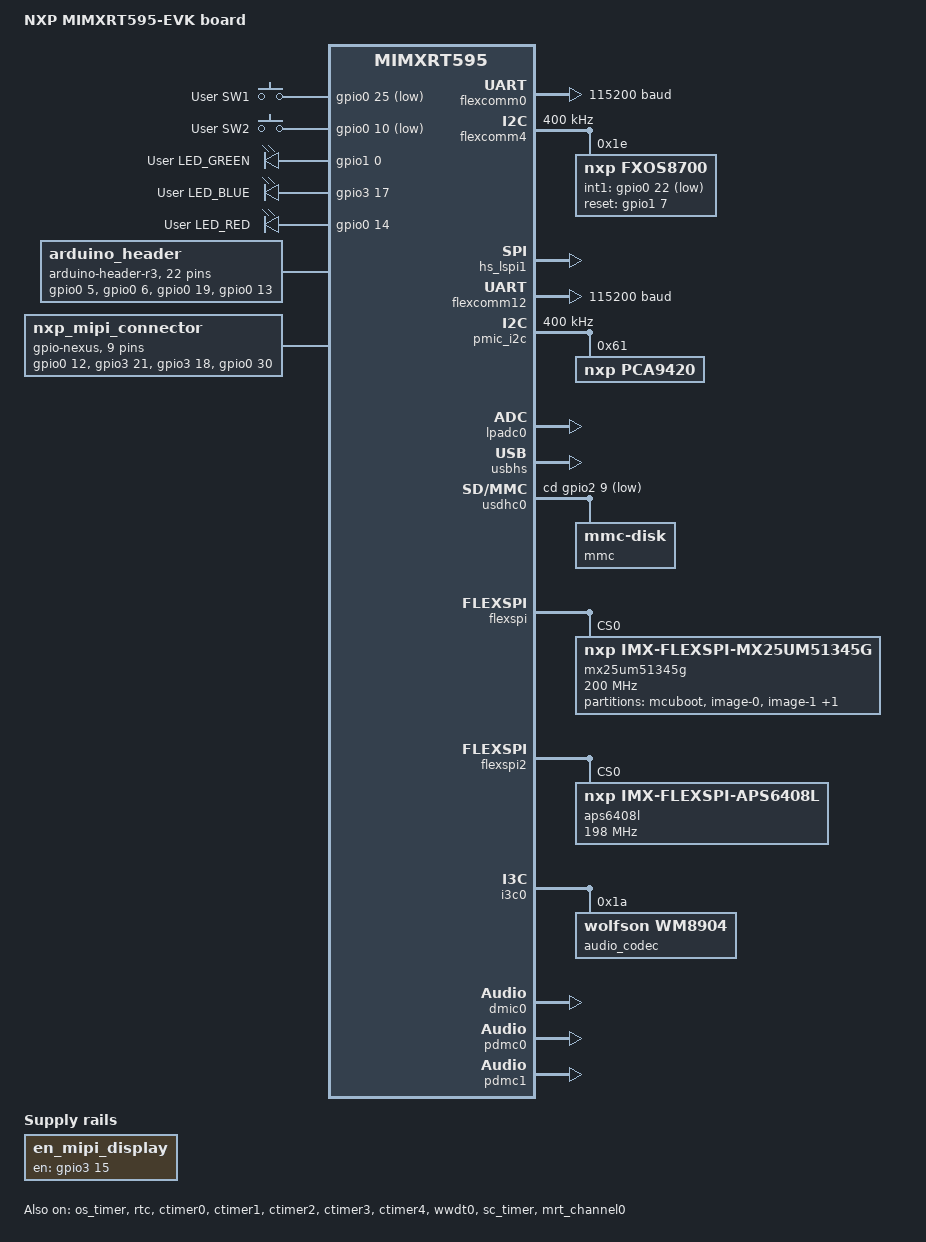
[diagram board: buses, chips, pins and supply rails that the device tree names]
/*
 * Copyright 2022-2023, NXP
 *
 * SPDX-License-Identifier: Apache-2.0
 */

/dts-v1/;

#include <nxp/nxp_rt5xx.dtsi>
#include <zephyr/dt-bindings/gpio/arduino-header-r3.h>
#include <zephyr/dt-bindings/input/input-event-codes.h>

#include "mimxrt595_evk_mimxrt595s_cm33-pinctrl.dtsi"


/ {
	model = "NXP MIMXRT595-EVK board";
	compatible = "nxp,mimxrt595";

	aliases {
		sw0 = &user_button_1;
		sw1 = &user_button_2;
		led0 = &green_led;
		led1 = &blue_led;
		led2 = &red_led;
		usart-0 = &flexcomm0;
		watchdog0 = &wwdt0;
		magn0 = &fxos8700;
		accel0 = &fxos8700;
		sdhc0 = &usdhc0;
		pwm-0 = &sc_timer;
		dmic-dev = &dmic0;
		mcuboot-button0 = &user_button_1;
	};

	chosen {
		zephyr,flash-controller = &mx25um51345g;
		zephyr,flash = &mx25um51345g;
		zephyr,code-partition = &slot0_partition;
		zephyr,uart-mcumgr = &flexcomm0;
		zephyr,sram = &sram0;
		zephyr,console = &flexcomm0;
		zephyr,shell-uart = &flexcomm0;
		zephyr,display = &lcdif;
	};

	gpio_keys {
		compatible = "gpio-keys";
		user_button_1: button_0 {
			label = "User SW1";
			gpios = <&gpio0 25 GPIO_ACTIVE_LOW>;
			zephyr,code = <INPUT_KEY_0>;
		};
		user_button_2: button_1 {
			label = "User SW2";
			gpios = <&gpio0 10 GPIO_ACTIVE_LOW>;
			zephyr,code = <INPUT_KEY_1>;
		};
	};

	leds {
		compatible = "gpio-leds";
		green_led: led_1 {
			gpios = <&gpio1 0 0>;
			label = "User LED_GREEN";
		};
		blue_led: led_2 {
			gpios = <&gpio3 17 0>;
			label = "User LED_BLUE";
		};
		red_led: led_3 {
			gpios = <&gpio0 14 0>;
			label = "User LED_RED";
		};
	};

	arduino_header: arduino-connector {
		compatible = "arduino-header-r3";
		#gpio-cells = <2>;
		gpio-map-mask = <0xffffffff 0xffffffc0>;
		gpio-map-pass-thru = <0 0x3f>;
		gpio-map =	<ARDUINO_HEADER_R3_A0 0 &gpio0 5 0>,
				<ARDUINO_HEADER_R3_A1 0 &gpio0 6 0>,
				<ARDUINO_HEADER_R3_A2 0 &gpio0 19 0>,
				<ARDUINO_HEADER_R3_A3 0 &gpio0 13 0>,
				<ARDUINO_HEADER_R3_A4 0 &gpio4 22 0>,
				<ARDUINO_HEADER_R3_A5 0 &gpio4 21 0>,
				<ARDUINO_HEADER_R3_D0 0 &gpio4 31 0>,
				<ARDUINO_HEADER_R3_D1 0 &gpio4 30 0>,
				<ARDUINO_HEADER_R3_D2 0 &gpio4 20 0>,
				<ARDUINO_HEADER_R3_D3 0 &gpio4 23 0>,
				<ARDUINO_HEADER_R3_D4 0 &gpio4 24 0>,
				<ARDUINO_HEADER_R3_D5 0 &gpio4 25 0>,
				<ARDUINO_HEADER_R3_D6 0 &gpio4 26 0>,
				<ARDUINO_HEADER_R3_D7 0 &gpio4 27 0>,
				<ARDUINO_HEADER_R3_D8 0 &gpio4 28 0>,
				<ARDUINO_HEADER_R3_D9 0 &gpio4 29 0>,
				<ARDUINO_HEADER_R3_D10 0 &gpio5 0 0>,
				<ARDUINO_HEADER_R3_D11 0 &gpio5 1 0>,
				<ARDUINO_HEADER_R3_D12 0 &gpio5 2 0>,
				<ARDUINO_HEADER_R3_D13 0 &gpio5 3 0>,
				<ARDUINO_HEADER_R3_D14 0 &gpio4 22 0>,
				<ARDUINO_HEADER_R3_D15 0 &gpio4 21 0>;
	};

	/*
	 * This node describes the GPIO pins of the MIPI FPC interface,
	 * J44 on the EVK. This interface is standard to several
	 * NXP EVKs, and is used with several MIPI displays
	 * (available as zephyr shields)
	 */
	nxp_mipi_connector: mipi-connector {
		compatible = "gpio-nexus";
		#gpio-cells = <2>;
		gpio-map-mask = <0xffffffff 0xffffffc0>;
		gpio-map-pass-thru = <0 0x3f>;
		gpio-map =	<0  0 &gpio0 12 0>,	/* Pin 1, LEDK */
				<21 0 &gpio3 21 0>,	/* Pin 21, RESET */
				<22 0 &gpio3 18 0>,	/* Pin 22, LPTE */
				<26 0 &gpio0 30 0>,	/* Pin 26, CTP_I2C SDA */
				<27 0 &gpio0 29 0>,	/* Pin 27, CTP_I2C SCL */
				<28 0 &gpio4 4 0>,	/* Pin 28, CTP_RST */
				<29 0 &gpio3 19 0>,	/* Pin 29, CTP_INT */
				<32 0 &gpio3 15 0>,	/* Pin 32, PWR_EN */
				<34 0 &gpio0 12 0>;	/* Pin 34, BL_PWM */
	};

	en_mipi_display: enable-mipi-display {
		compatible = "regulator-fixed";
		regulator-name = "en_mipi_display";
		enable-gpios = <&gpio3 15 GPIO_ACTIVE_HIGH>;
		regulator-boot-on;
	};
};

/*
 * RT595 EVK board uses OS timer as the kernel timer
 * In case we need to switch to SYSTICK timer, then
 * replace &os_timer with &systick
 */
&os_timer {
	status = "okay";
	wakeup-source;
};

&rtc {
	status = "okay";
};

&flexcomm0 {
	compatible = "nxp,lpc-usart";
	status = "okay";
	current-speed = <115200>;
	pinctrl-0 = <&pinmux_flexcomm0_usart>;
	pinctrl-names = "default";
	dmas = <&dma0 0>, <&dma0 1>;
	dma-names = "rx", "tx";
};

arduino_i2c: &flexcomm4 {
	compatible = "nxp,lpc-i2c";
	status = "okay";
	clock-frequency = <I2C_BITRATE_FAST>;
	#address-cells = <1>;
	#size-cells = <0>;
	pinctrl-0 = <&pinmux_flexcomm4_i2c>;
	pinctrl-names = "default";

	fxos8700: fxos8700@1e {
		compatible = "nxp,fxos8700";
		reg = <0x1e>;
		int1-gpios = <&gpio0 22 GPIO_ACTIVE_LOW>;
		reset-gpios = <&gpio1 7 GPIO_ACTIVE_HIGH>;
	};
};

nxp_mipi_i2c: &arduino_i2c {};

zephyr_mipi_dsi: &mipi_dsi {};

zephyr_lcdif: &lcdif {};


hs_spi1: &hs_lspi1 {
	compatible = "nxp,lpc-spi";
	pinctrl-0 = <&pinmux_flexcomm16_spi>;
	pinctrl-names = "default";
	dmas = <&dma0 28>, <&dma0 29>;
	dma-names = "rx", "tx";
	status = "okay";
};

/* I2S RX */
i2s0: &flexcomm1 {
	compatible = "nxp,lpc-i2s";
	pinctrl-0 = <&pinmux_flexcomm1_i2s>;
	pinctrl-names = "default";
	#address-cells = <1>;
	#size-cells = <0>;
	dmas = <&dma0 2>;
	dma-names = "rx";
	status = "disabled";
};

/* I2S TX */
i2s1: &flexcomm3 {
	compatible = "nxp,lpc-i2s";
	pinctrl-0 = <&pinmux_flexcomm3_i2s>;
	pinctrl-names = "default";
	#address-cells = <1>;
	#size-cells = <0>;
	dmas = <&dma0 7>;
	dma-names = "tx";
	status = "disabled";
};

arduino_serial: &flexcomm12 {
	compatible = "nxp,lpc-usart";
	status = "okay";
	current-speed = <115200>;
	pinctrl-0 = <&pinmux_flexcomm12_usart>;
	pinctrl-names = "default";
	dmas = <&dma0 34>, <&dma0 35>;
	dma-names = "rx", "tx";
};

/* PCA9420 PMIC */
&pmic_i2c {
	status = "okay";
	clock-frequency = <I2C_BITRATE_FAST>;
	#address-cells = <1>;
	#size-cells = <0>;
	pinctrl-0 = <&pinmux_pmic_i2c>;
	pinctrl-names = "default";

	pca9420: pca9420@61 {
		compatible = "nxp,pca9420";
		reg = <0x61>;
		nxp,enable-modesel-pins;

		pca9420_sw1: BUCK1 {
			regulator-boot-on;
			nxp,mode0-microvolt = <1100000>;
			nxp,mode1-microvolt = <600000>;
			nxp,mode2-microvolt = <900000>;
			nxp,mode3-microvolt = <800000>;
		};

		pca9420_sw2: BUCK2 {
			regulator-boot-on;
			nxp,mode0-microvolt = <1800000>;
			nxp,mode1-microvolt = <1800000>;
			nxp,mode2-microvolt = <1800000>;
			nxp,mode3-microvolt = <1800000>;
		};

		pca9420_ldo1: LDO1 {
			regulator-boot-on;
			nxp,mode0-microvolt = <1800000>;
			nxp,mode1-microvolt = <1800000>;
			nxp,mode2-microvolt = <1800000>;
			nxp,mode3-microvolt = <1800000>;
		};

		pca9420_ldo2: LDO2 {
			regulator-boot-on;
			nxp,mode0-microvolt = <3300000>;
			nxp,mode1-microvolt = <3300000>;
			nxp,mode2-microvolt = <3300000>;
			nxp,mode3-microvolt = <3300000>;
		};
	};
};

&lpadc0 {
	status = "okay";
	pinctrl-0 = <&pinmux_lpadc0>;
	pinctrl-names = "default";
};

&gpio0 {
	status = "okay";
};

&gpio1 {
	status = "okay";
};

&gpio2 {
	status = "okay";
};

/*
 * GPIO module interrupts are shared between all GPIO devices on this
 * SOC, but Zephyr does not currently support sharing interrupts between
 * devices. The user can select GPIO modules to support interrupts by
 * setting the appropriate `int-source` and `interrupt` property for
 * a given module. On this board, GPIO3 and GPIO4 are configured to support
 * interrupts.
 */
&gpio3 {
	status = "okay";
	int-source = "int-a";
	interrupts = <2 0>;
};

&gpio4 {
	status = "okay";
	int-source = "int-b";
	interrupts = <3 0>;
};

&gpio5 {
	status = "okay";
};

&gpio6 {
	status = "okay";
};

&user_button_1 {
	status = "okay";
};

&user_button_2 {
	status = "okay";
};

&green_led {
	status = "okay";
};

&blue_led {
	status = "okay";
};

&red_led {
	status = "okay";
};

&dma0 {
	status = "okay";
};

zephyr_udc0: &usbhs {
	status = "okay";
};

&ctimer0 {
	status = "okay";
};

&ctimer1 {
	status = "okay";
};

&ctimer2 {
	status = "okay";
};

&ctimer3 {
	status = "okay";
};

&ctimer4 {
	status = "okay";
};

&usdhc0 {
	status = "okay";
	pwr-gpios = <&gpio2 10 GPIO_ACTIVE_HIGH>;
	cd-gpios = <&gpio2 9 GPIO_ACTIVE_LOW>;
	mmc {
		compatible = "zephyr,mmc-disk";
		disk-name = "SD2";
		status = "okay";
	};
	pinctrl-0 = <&pinmux_usdhc>;
	pinctrl-names = "default";
	mmc-hs200-1_8v;
	mmc-hs400-1_8v;
};

&wwdt0 {
	status = "okay";
};

&flexspi {
	status = "okay";
	pinctrl-0 = <&pinmux_flexspi>;
	pinctrl-1 = <&pinmux_flexspi_sleep>;
	pinctrl-names = "default", "sleep";

	mx25um51345g: mx25um51345g@0 {
		compatible = "nxp,imx-flexspi-mx25um51345g";
		/* MX25UM51245G is 64MB, 512MBit flash part */
		size = <DT_SIZE_M(64 * 8)>;
		reg = <0>;
		spi-max-frequency = <200000000>;
		status = "okay";
		jedec-id = [c2 81 3a];
		erase-block-size = <4096>;
		write-block-size = <2>; /* FLASH_MCUX_FLEXSPI_MX25UM51345G_OPI_DTR set */

		partitions {
			compatible = "fixed-partitions";
			#address-cells = <1>;
			#size-cells = <1>;

			/*
			 * Partition sizes must be aligned
			 * to the flash memory sector size of 4KB.
			 */
			boot_partition: partition@0 {
				label = "mcuboot";
				reg = <0x00000000 DT_SIZE_K(128)>;
			};
			slot0_partition: partition@20000 {
				label = "image-0";
				reg = <0x00020000 DT_SIZE_M(3)>;
			};
			slot1_partition: partition@320000 {
				label = "image-1";
				reg = <0x00320000 DT_SIZE_M(3)>;
			};
			storage_partition: partition@620000 {
				label = "storage";
				reg = <0x00620000 (DT_SIZE_M(58) - DT_SIZE_K(128))>;
			};
		};
	};
};

&flexspi2 {
	status = "okay";
	pinctrl-0 = <&pinmux_flexspi2>;
	pinctrl-names = "default";
	rx-clock-source = <3>;
	ahb-prefetch;
	ahb-bufferable;
	ahb-cacheable;
	ahb-read-addr-opt;
	aps6408l: aps6408l@0 {
		compatible = "nxp,imx-flexspi-aps6408l";
		/* APS6408L is 8MB, 64MBit pSRAM */
		size = <DT_SIZE_M(8 * 8)>;
		reg = <0>;
		spi-max-frequency = <198000000>;
		status = "okay";
		cs-interval-unit = <1>;
		cs-interval = <5>;
		cs-hold-time = <3>;
		cs-setup-time = <3>;
		data-valid-time = <1>;
		column-space = <0>;
		ahb-write-wait-unit = <2>;
		ahb-write-wait-interval = <0>;
	};
};

&sc_timer {
	pinctrl-0 = <&pinmux_sctimer_default>;
	pinctrl-names = "default";
	status = "okay";
};

&i3c0 {
	pinctrl-0 = <&pinmux_i3c>;
	pinctrl-names = "default";

	status = "okay";

	audio_codec: wm8904@1a0000000000000000 {
		compatible = "wolfson,wm8904";
		reg = <0x1a 0 0>;
		clock-source = "MCLK";

		clocks = <&clkctl0 MCUX_AUDIO_MCLK>;
		clock-names = "mclk";
	};
};

&mbox {
	status = "okay";
};

/* Disable this node if not using USB and need another MPU region */
&sram1 {
	status = "okay";
};

/* Enable smartDMA controller */
&smartdma {
	status = "okay";
};

/* Add smartDMA to mipi DSI */
&mipi_dsi {
	dmas = <&smartdma>;
	dma-names = "smartdma";
};

&dmic0 {
	status = "okay";
	pinctrl-0 = <&pinmux_dmic0>;
	pinctrl-names = "default";
	use2fs;
};

/* Configure pdm channels 0 and 1 with gain, and cutoff settings
 * appropriate for the attached MEMS microphones.
 */
&pdmc0 {
	status = "okay";
	gainshift = <3>;
	dc-cutoff = "155hz";
	dc-gain = <1>;
};

&pdmc1 {
	status = "okay";
	gainshift = <3>;
	dc-cutoff = "155hz";
	dc-gain = <1>;
};

&mrt_channel0 {
	status = "okay";
};
